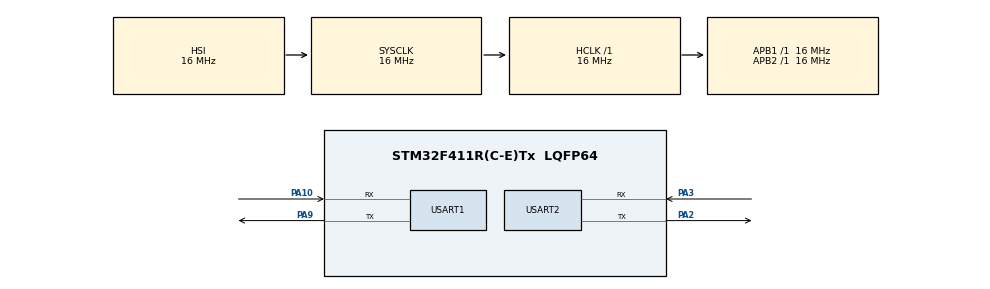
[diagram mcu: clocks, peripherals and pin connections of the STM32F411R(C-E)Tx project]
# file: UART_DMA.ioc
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Dma.Request0=USART1_RX
Dma.Request1=USART1_TX
Dma.USART1_RX.0.Direction=DMA_PERIPH_TO_MEMORY
Dma.USART1_RX.0.FIFOMode=DMA_FIFOMODE_DISABLE
Dma.USART1_RX.0.Instance=DMA2_Stream2
Dma.USART1_RX.0.MemDataAlignment=DMA_MDATAALIGN_BYTE
Dma.USART1_RX.0.MemInc=DMA_MINC_ENABLE
Dma.USART1_RX.0.Mode=DMA_NORMAL
Dma.USART1_RX.0.PeriphDataAlignment=DMA_PDATAALIGN_BYTE
Dma.USART1_RX.0.PeriphInc=DMA_PINC_DISABLE
Dma.USART1_RX.0.Priority=DMA_PRIORITY_LOW
Dma.USART1_TX.1.Direction=DMA_MEMORY_TO_PERIPH
Dma.USART1_TX.1.FIFOMode=DMA_FIFOMODE_DISABLE
Dma.USART1_TX.1.Instance=DMA2_Stream7
Dma.USART1_TX.1.MemDataAlignment=DMA_MDATAALIGN_BYTE
Dma.USART1_TX.1.MemInc=DMA_MINC_ENABLE
Dma.USART1_TX.1.Mode=DMA_NORMAL
Dma.USART1_TX.1.PeriphDataAlignment=DMA_PDATAALIGN_BYTE
Dma.USART1_TX.1.PeriphInc=DMA_PINC_DISABLE
Dma.USART1_TX.1.Priority=DMA_PRIORITY_LOW
Mcu.Family=STM32F4
Mcu.Name=STM32F411R(C-E)Tx
Mcu.Package=LQFP64
NVIC.DMA2_Stream2_IRQn=true\:0\:0\:false\:false\:true\:false\:true\:true
NVIC.DMA2_Stream7_IRQn=true\:0\:0\:false\:false\:true\:false\:true\:true
NVIC.PriorityGroup=NVIC_PRIORITYGROUP_4
NVIC.USART1_IRQn=true\:0\:0\:false\:false\:true\:true\:true\:true
PA10.Mode=Asynchronous
PA10.Signal=USART1_RX
PA2.Mode=Asynchronous
PA2.Signal=USART2_TX
PA3.Mode=Asynchronous
PA3.Signal=USART2_RX
PA9.Mode=Asynchronous
PA9.Signal=USART1_TX
ProjectManager.HeapSize=0x200
ProjectManager.StackSize=0x400
ProjectManager.TargetToolchain=STM32CubeIDE
RCC.AHBFreq_Value=16000000
RCC.APB1Freq_Value=16000000
RCC.APB2Freq_Value=16000000
RCC.CortexFreq_Value=16000000
RCC.HSE_VALUE=25000000
RCC.HSI_VALUE=16000000
RCC.LSE_VALUE=32768
RCC.SYSCLKFreq_VALUE=16000000
RCC.VCOOutputFreq_Value=192000000
USART1.VirtualMode=VM_ASYNC
USART2.VirtualMode=VM_ASYNC
board=custom

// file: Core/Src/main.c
/* USER CODE BEGIN Header */
/**
  ******************************************************************************
  * @file           : main.c
  * @brief          : Main program body
  ******************************************************************************
  * @attention
  *
  * Copyright (c) 2024 STMicroelectronics.
  * All rights reserved.
  *
  * This software is licensed under terms that can be found in the LICENSE file
  * in the root directory of this software component.
  * If no LICENSE file comes with this software, it is provided AS-IS.
  *
  ******************************************************************************
  */
/* USER CODE END Header */
#include "main.h"
#include "dma.h"
#include "usart.h"
#include "gpio.h"

/* USER CODE BEGIN Includes */
#include "retarget.h"
#include <stdio.h>
#include <string.h>
/* USER CODE END Includes */

/* USER CODE BEGIN PV */
uint8_t buffer[100];
/* USER CODE END PV */

void SystemClock_Config(void);

/* USER CODE BEGIN 0 */

void HAL_UART_TxCpltCallback(UART_HandleTypeDef* huart){
	if (huart->Instance == USART1) {
		// Called once Transmit is complete.
		// Useful for turning off any external drivers - i.e. RS-485
	}
}

void HAL_UARTEx_RxEventCallback(UART_HandleTypeDef* huart, uint16_t size)
{
	if (huart->Instance == USART1) {
		HAL_UART_RxEventTypeTypeDef EventType = HAL_UARTEx_GetRxEventType(huart);
		// This call back will also receive halt transfer events (HAL_UART_RXEVENT_HT).
		// Filter these requests out so the buffer is not printed twice.
		if ((EventType == HAL_UART_RXEVENT_IDLE) || (EventType == HAL_UART_RXEVENT_TC)) {
			printf("Received %hu byte(s): %.*s\r\n", size, size, buffer);
			HAL_UARTEx_ReceiveToIdle_DMA(huart, buffer, sizeof(buffer));
		}
	}
}

void UARTSend(char *buffer)
{
	uint8_t len = strlen(buffer);

	if (HAL_UART_Transmit_DMA(&huart1, (uint8_t*)buffer, len) == HAL_OK)
	{
		printf("Successfully sent %d bytes\r\n", len);
	} else {
		printf("Error sending %d bytes\r\n", len);
	}
}

/* USER CODE END 0 */

int main(void)
{

  /* MCU Configuration--------------------------------------------------------*/

  /* Reset of all peripherals, Initializes the Flash interface and the Systick. */
  HAL_Init();

  /* Configure the system clock */
  SystemClock_Config();

  /* Initialize all configured peripherals */
  MX_GPIO_Init();
  MX_DMA_Init();
  MX_USART2_UART_Init();
  MX_USART1_UART_Init();
  /* USER CODE BEGIN 2 */
  RetargetInit(&huart2);
  printf("UART DMA Example V1.0\r\n");
  /* USER CODE END 2 */

  /* Infinite loop */
  /* USER CODE BEGIN WHILE */

  HAL_UARTEx_ReceiveToIdle_DMA(&huart1, buffer, sizeof(buffer));

  while (1)
  {
    /* USER CODE END WHILE */

    /* USER CODE BEGIN 3 */
	UARTSend("Hello World! via DMA\r\n");
	HAL_Delay(5000);
  }
  /* USER CODE END 3 */
}

void SystemClock_Config(void)
{
  RCC_OscInitTypeDef RCC_OscInitStruct = {0};
  RCC_ClkInitTypeDef RCC_ClkInitStruct = {0};

  /** Configure the main internal regulator output voltage
  */
  __HAL_RCC_PWR_CLK_ENABLE();
  __HAL_PWR_VOLTAGESCALING_CONFIG(PWR_REGULATOR_VOLTAGE_SCALE1);

  /** Initializes the RCC Oscillators according to the specified parameters
  * in the RCC_OscInitTypeDef structure.
  */
  RCC_OscInitStruct.OscillatorType = RCC_OSCILLATORTYPE_HSI;
  RCC_OscInitStruct.HSIState = RCC_HSI_ON;
  RCC_OscInitStruct.HSICalibrationValue = RCC_HSICALIBRATION_DEFAULT;
  RCC_OscInitStruct.PLL.PLLState = RCC_PLL_NONE;
  if (HAL_RCC_OscConfig(&RCC_OscInitStruct) != HAL_OK)
  {
    Error_Handler();
  }

  /** Initializes the CPU, AHB and APB buses clocks
  */
  RCC_ClkInitStruct.ClockType = RCC_CLOCKTYPE_HCLK|RCC_CLOCKTYPE_SYSCLK
                              |RCC_CLOCKTYPE_PCLK1|RCC_CLOCKTYPE_PCLK2;
  RCC_ClkInitStruct.SYSCLKSource = RCC_SYSCLKSOURCE_HSI;
  RCC_ClkInitStruct.AHBCLKDivider = RCC_SYSCLK_DIV1;
  RCC_ClkInitStruct.APB1CLKDivider = RCC_HCLK_DIV1;
  RCC_ClkInitStruct.APB2CLKDivider = RCC_HCLK_DIV1;

  if (HAL_RCC_ClockConfig(&RCC_ClkInitStruct, FLASH_LATENCY_0) != HAL_OK)
  {
    Error_Handler();
  }
}

void Error_Handler(void)
{
  __disable_irq();
  while (1)
  {
  }
}
